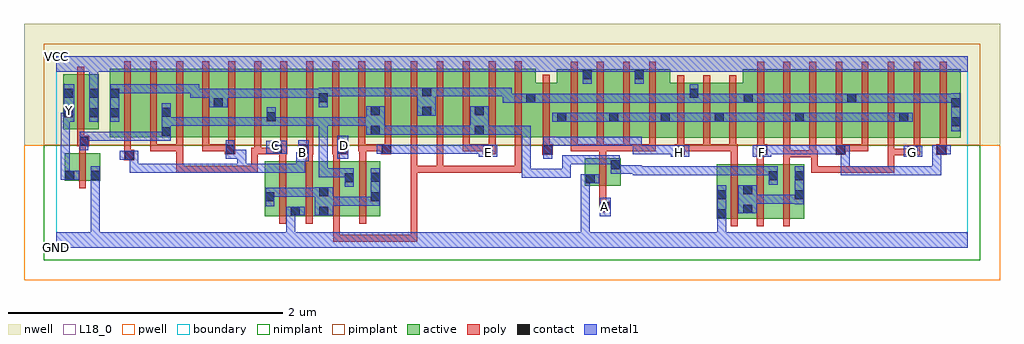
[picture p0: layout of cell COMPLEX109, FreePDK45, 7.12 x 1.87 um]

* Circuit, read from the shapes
.subckt COMPLEX109 A B C D E F G GND H VCC Y
M1 GND n1 Y VSUBS nfet w=0.2u l=0.05u
M2 GND C n2 VSUBS nfet w=0.4u l=0.05u
M3 n2 B GND VSUBS nfet w=0.4u l=0.05u
M4 n1 D n2 VSUBS nfet w=0.4u l=0.05u
M5 n2 E n1 VSUBS nfet w=0.4u l=0.05u
M6 n1 A GND VSUBS nfet w=0.2u l=0.05u
M7 n3 H GND VSUBS nfet w=0.4u l=0.05u
M8 n1 F n3 VSUBS nfet w=0.4u l=0.05u
M9 n3 G n1 VSUBS nfet w=0.4u l=0.05u
M10 VCC n1 Y n4 pfet w=0.4u l=0.05u
M11 n5 B n6 n4 pfet w=0.5u l=0.05u
M12 n1 C n5 n4 pfet w=0.5u l=0.05u
M13 n7 C n1 n4 pfet w=0.5u l=0.05u
M14 n6 B n7 n4 pfet w=0.5u l=0.05u
M15 n8 B n6 n4 pfet w=0.5u l=0.05u
M16 n1 C n8 n4 pfet w=0.5u l=0.05u
M17 n9 C n1 n4 pfet w=0.5u l=0.05u
M18 n6 B n9 n4 pfet w=0.5u l=0.05u
M19 n10 D n6 n4 pfet w=0.5u l=0.05u
M20 n1 E n10 n4 pfet w=0.5u l=0.05u
M21 n11 E n1 n4 pfet w=0.5u l=0.05u
M22 n6 D n11 n4 pfet w=0.5u l=0.05u
M23 n12 D n6 n4 pfet w=0.5u l=0.05u
M24 n1 E n12 n4 pfet w=0.5u l=0.05u
M25 n13 E n1 n4 pfet w=0.5u l=0.05u
M26 n6 D n13 n4 pfet w=0.5u l=0.05u
M27 n14 H n6 n4 pfet w=0.4u l=0.05u m=4
M28 VCC A n14 n4 pfet w=0.5u l=0.05u m=4
M29 n15 F n6 n4 pfet w=0.5u l=0.05u
M30 n14 G n15 n4 pfet w=0.5u l=0.05u
M31 n16 G n14 n4 pfet w=0.5u l=0.05u
M32 n6 F n16 n4 pfet w=0.5u l=0.05u
M33 n17 F n6 n4 pfet w=0.5u l=0.05u
M34 n14 G n17 n4 pfet w=0.5u l=0.05u
M35 n18 G n14 n4 pfet w=0.5u l=0.05u
M36 n6 F n18 n4 pfet w=0.5u l=0.05u
.ends

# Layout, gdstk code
import gdstk
lib = gdstk.Library(unit=1e-6, precision=1e-09)
def R(c, l, rs):  # rectangles x0, y0, x1, y1
    for r in rs: c.add(gdstk.rectangle(r[:2], r[2:], *l))
def A(c, l, x, y, w, h, nx, ny, dx, dy):  # array of equal rectangles
    R(c, l, [(x+i*dx, y+j*dy, x+i*dx+w, y+j*dy+h) for i in range(nx) for j in range(ny)])
active = (1, 0)
pwell = (2, 0)
nwell = (3, 0)
nimplant = (4, 0)
pimplant = (5, 0)
poly = (9, 0)
contact = (10, 0)
metal1 = (11, 0)
L18_0 = (18, 0)
boundary = (235, 0)

complex109 = lib.new_cell('COMPLEX109')
A(complex109, active, 5.235, 0.805, 0.225, 0.5, 4, 1, 0.38, 0)
A(complex109, active, 5.385, 0.805, 0.23, 0.5, 3, 1, 0.38, 0)
A(complex109, active, 1.375, 0.807, 0.23, 0.5, 3, 1, 0.38, 0)
A(complex109, active, 1.53, 0.807, 0.225, 0.5, 3, 1, 0.38, 0)
A(complex109, active, 1.53, 0.807, 0.075, 0.263, 3, 1, 0.76, 0)
R(complex109, active, [(4.817,0.212,4.892,0.612), (4.817,0.212,5.082,0.612), (5.007,0.212,5.267,0.612), (5.192,0.212,5.457,0.612), (5.382,0.212,5.457,0.612), (1.522,0.232,1.782,0.632), (1.522,0.232,1.597,0.492), (1.707,0.232,1.782,0.492), (1.707,0.232,1.99,0.632), (1.915,0.232,2.175,0.632), (1.915,0.232,1.99,0.492), (2.1,0.232,2.365,0.632), (2.29,0.232,2.365,0.632), (5.007,0.247,5.082,0.497), (2.1,0.295,2.175,0.585), (5.192,0.295,5.267,0.565), (3.857,0.455,4.117,0.655), (3.857,0.457,3.932,0.655), (4.042,0.457,4.117,0.655), (0.062,0.492,0.322,0.692), (0.062,0.492,0.137,0.692), (0.247,0.492,0.322,0.692), (3.65,0.805,3.91,1.305), (3.835,0.805,4.105,1.305), (4.03,0.805,4.29,1.305), (4.215,0.805,4.48,1.305), (4.405,0.805,4.69,1.205), (4.615,0.805,4.875,1.205), (4.8,0.805,5.085,1.205), (4.8,0.805,4.875,1.07), (5.01,0.805,5.235,1.305), (6.525,0.805,6.6,1.2), (0.39,0.807,0.615,1.307), (0.39,0.807,0.495,1.2), (0.615,0.807,0.84,1.307), (0.765,0.807,0.995,1.307), (0.765,0.807,0.84,1.07), (0.995,0.807,1.22,1.307), (1.145,0.807,1.375,1.307), (1.145,0.807,1.22,1.2), (1.91,0.807,1.985,1.2), (2.515,0.807,2.74,1.307), (2.665,0.807,2.895,1.307), (2.665,0.807,2.74,1.2), (2.895,0.807,3.125,1.307), (3.05,0.807,3.275,1.307), (3.275,0.807,3.5,1.307), (3.425,0.807,3.725,1.207), (3.65,0.807,3.725,1.07), (3.835,0.807,3.91,1.305), (4.03,0.807,4.105,1.07), (4.215,0.807,4.29,1.305), (5.385,0.807,5.46,1.07), (5.765,0.807,5.84,1.2), (6.145,0.807,6.22,1.07), (0.05,0.867,0.31,1.267), (0.05,0.867,0.125,1.2), (0.235,0.867,0.31,1.267), (3.425,0.907,3.5,1.2), (4.405,0.907,4.48,1.07), (4.615,0.907,4.69,1.2), (5.01,0.907,5.085,1.2)])
R(complex109, pwell, [(-0.235,-0.235,6.885,0.75)])
R(complex109, nwell, [(-0.235,0.75,6.885,1.635)])
R(complex109, nimplant, [(-0.09,-0.09,6.74,0.75)])
R(complex109, pimplant, [(-0.09,0.75,6.74,1.49)])
A(complex109, poly, 4.922, 0.157, 0.05, 0.51, 3, 1, 0.19, 0)
A(complex109, poly, 3.755, 0.705, 0.05, 0.095, 4, 1, 0.19, 0)
A(complex109, poly, 4.53, 0.705, 0.05, 0.095, 3, 1, 0.19, 0)
A(complex109, poly, 0.685, 0.707, 0.05, 0.095, 4, 1, 0.19, 0)
A(complex109, poly, 0.685, 0.707, 0.05, 0.05, 3, 1, 0.19, 0)
A(complex109, poly, 1.635, 0.707, 0.05, 0.095, 5, 1, 0.19, 0)
A(complex109, poly, 3.755, 0.75, 0.05, 0.61, 4, 1, 0.19, 0)
A(complex109, poly, 4.53, 0.75, 0.05, 0.51, 3, 1, 0.19, 0)
A(complex109, poly, 5.115, 0.75, 0.05, 0.61, 8, 1, 0.19, 0)
A(complex109, poly, 0.495, 0.752, 0.05, 0.61, 16, 1, 0.19, 0)
R(complex109, poly, [(2.02,0.045,2.07,0.095), (2.02,0.045,2.07,0.095), (2.02,0.045,2.07,0.095), (2.02,0.045,2.287,0.095), (2.02,0.045,2.07,0.227), (2.237,0.045,2.287,0.095), (2.237,0.045,2.465,0.095), (2.415,0.045,2.465,0.095), (2.415,0.045,2.502,0.095), (2.452,0.045,2.502,0.095), (2.452,0.045,2.502,0.095), (2.452,0.045,2.502,0.095), (2.452,0.045,2.635,0.095), (2.585,0.045,2.635,0.095), (2.585,0.045,2.635,0.095), (2.585,0.045,2.635,0.095), (2.585,0.045,2.635,0.6), (1.627,0.177,1.677,0.687), (1.822,0.177,1.872,0.687), (2.02,0.177,2.07,0.687), (2.21,0.177,2.26,0.687), (3.962,0.262,4.037,0.337), (3.962,0.287,4.012,0.45), (3.962,0.4,4.012,0.71), (0.167,0.437,0.217,0.747), (5.507,0.547,5.557,0.597), (5.507,0.547,5.557,0.597), (5.507,0.547,5.557,0.597), (5.507,0.547,5.69,0.597), (5.507,0.547,5.557,0.712), (5.64,0.547,5.69,0.597), (5.64,0.547,5.69,0.597), (5.64,0.547,5.69,0.597), (5.64,0.547,5.982,0.597), (5.932,0.547,5.982,0.597), (5.932,0.547,5.982,0.597), (5.932,0.547,5.982,0.597), (5.932,0.547,6.115,0.597), (6.065,0.547,6.115,0.597), (6.065,0.547,6.115,0.597), (6.065,0.547,6.115,0.597), (6.065,0.547,6.115,0.725), (0.875,0.55,0.925,0.6), (0.875,0.55,0.925,0.6), (0.875,0.55,0.925,0.6), (0.875,0.55,0.925,0.6), (0.875,0.55,0.925,0.6), (0.875,0.55,1.147,0.6), (0.875,0.55,0.925,0.757), (1.097,0.55,1.147,0.6), (1.097,0.55,1.28,0.6), (1.23,0.55,1.28,0.6), (1.23,0.55,1.28,0.6), (1.23,0.55,1.28,0.6), (1.23,0.55,1.472,0.6), (1.422,0.55,1.472,0.6), (1.422,0.55,1.472,0.6), (1.422,0.55,1.472,0.6), (1.422,0.55,1.472,0.6), (1.422,0.55,1.472,0.6), (1.422,0.55,1.472,0.732), (2.585,0.55,2.635,0.6), (2.585,0.55,2.635,0.6), (2.585,0.55,2.635,0.6), (2.585,0.55,2.635,0.6), (2.585,0.55,2.635,0.6), (2.585,0.55,2.635,0.6), (2.585,0.55,2.635,0.6), (2.585,0.55,2.825,0.6), (2.585,0.55,2.635,0.802), (2.775,0.55,2.825,0.6), (2.775,0.55,2.825,0.6), (2.775,0.55,2.825,0.6), (2.775,0.55,2.825,0.6), (2.775,0.55,2.825,0.6), (2.775,0.55,2.825,0.6), (2.775,0.55,2.825,0.6), (2.775,0.55,2.825,0.802), (2.775,0.55,3.03,0.6), (2.98,0.55,3.03,0.6), (2.98,0.55,3.03,0.6), (2.98,0.55,3.03,0.6), (2.98,0.55,3.162,0.6), (3.112,0.55,3.162,0.6), (3.112,0.55,3.162,0.6), (3.112,0.55,3.162,0.6), (3.112,0.55,3.395,0.6), (3.345,0.55,3.395,0.6), (3.345,0.55,3.395,0.6), (3.345,0.55,3.395,0.6), (3.345,0.55,3.395,0.6), (3.345,0.55,3.395,0.6), (3.345,0.55,3.395,0.6), (3.345,0.55,3.395,0.6), (3.345,0.55,3.395,0.802), (4.922,0.617,4.972,0.755), (5.112,0.617,5.162,0.73), (5.302,0.617,5.352,0.712), (1.627,0.637,1.677,0.732), (1.822,0.637,1.872,0.732), (2.02,0.637,2.07,0.732), (2.21,0.637,2.26,0.757), (0.495,0.64,0.57,0.715), (3.962,0.66,4.012,0.755), (5.302,0.662,5.355,0.712), (5.305,0.662,5.355,0.712), (5.305,0.662,5.355,0.712), (5.305,0.662,5.355,0.8), (5.305,0.662,5.545,0.712), (5.495,0.662,5.545,0.8), (5.495,0.662,5.557,0.712), (5.507,0.662,5.557,0.712), (5.507,0.662,5.557,0.712), (0.495,0.665,0.545,0.802), (6.065,0.675,6.115,0.725), (6.065,0.675,6.262,0.725), (6.065,0.675,6.115,0.8), (6.212,0.675,6.262,0.725), (6.212,0.675,6.262,0.725), (6.212,0.675,6.305,0.75), (3.547,0.68,3.622,0.755), (4.512,0.68,4.587,0.755), (5.112,0.68,5.187,0.755), (5.685,0.68,5.76,0.755), (6.42,0.68,6.495,0.755), (1.23,0.682,1.305,0.757), (1.422,0.682,1.495,0.732), (1.445,0.682,1.627,0.732), (1.445,0.682,1.495,0.802), (1.577,0.682,1.627,0.732), (1.577,0.682,1.627,0.732), (1.577,0.682,1.685,0.757), (1.772,0.682,1.875,0.757), (2.015,0.682,2.122,0.757), (2.37,0.682,2.445,0.757), (3.112,0.682,3.205,0.757), (0.167,0.697,0.217,0.792), (6.255,0.7,6.305,0.8), (3.55,0.705,3.6,0.802), (3.755,0.705,3.805,0.755), (3.755,0.705,3.805,0.755), (3.755,0.705,3.805,0.755), (3.755,0.705,3.995,0.755), (3.945,0.705,4.012,0.755), (3.962,0.705,4.185,0.755), (4.135,0.705,4.185,0.755), (4.135,0.705,4.185,0.755), (4.135,0.705,4.185,0.755), (4.135,0.705,4.375,0.755), (4.325,0.705,4.375,0.755), (4.325,0.705,4.375,0.755), (4.325,0.705,4.375,0.755), (4.537,0.705,4.587,0.755), (4.537,0.705,4.587,0.755), (4.537,0.705,4.77,0.755), (4.72,0.705,4.77,0.755), (4.72,0.705,4.96,0.755), (4.91,0.705,4.96,0.755), (4.91,0.705,4.96,0.755), (4.91,0.705,4.972,0.755), (5.115,0.705,5.165,0.8), (5.685,0.705,5.735,0.8), (5.71,0.705,5.76,0.755), (5.71,0.705,5.76,0.755), (5.71,0.705,5.925,0.755), (5.875,0.705,5.925,0.8), (5.875,0.705,5.925,0.755), (6.445,0.705,6.495,0.8), (0.685,0.707,0.735,0.757), (0.685,0.707,0.735,0.757), (0.685,0.707,0.925,0.757), (1.065,0.707,1.28,0.757), (1.23,0.707,1.28,0.757), (1.23,0.707,1.28,0.757), (2.205,0.707,2.26,0.757), (2.21,0.707,2.42,0.757), (2.37,0.707,2.42,0.757), (2.37,0.707,2.42,0.757), (2.965,0.707,3.015,0.802), (2.965,0.707,3.015,0.757), (2.965,0.707,3.162,0.757), (3.112,0.707,3.162,0.757), (3.112,0.707,3.162,0.757), (3.155,0.707,3.205,0.802), (0.155,0.742,0.24,0.817), (3.55,0.752,3.6,1.262), (0.155,0.767,0.205,0.862), (0.155,0.812,0.205,1.322)])
R(complex109, contact, [(4.822,0.217,4.887,0.282), (1.712,0.237,1.777,0.302), (1.92,0.237,1.985,0.302), (5.012,0.252,5.077,0.317), (3.967,0.267,4.032,0.332), (1.527,0.34,1.592,0.405), (2.295,0.342,2.36,0.407), (5.387,0.355,5.452,0.42), (4.822,0.357,4.887,0.422), (1.92,0.377,1.985,0.442), (5.012,0.392,5.077,0.457), (3.862,0.472,3.927,0.537), (2.105,0.48,2.17,0.545), (2.295,0.482,2.36,0.547), (5.197,0.495,5.262,0.56), (5.387,0.495,5.452,0.56), (0.067,0.497,0.132,0.562), (0.252,0.497,0.317,0.562), (4.047,0.575,4.112,0.64), (0.5,0.645,0.565,0.71), (6.217,0.68,6.282,0.745), (3.552,0.685,3.617,0.75), (4.517,0.685,4.582,0.75), (5.117,0.685,5.182,0.75), (5.69,0.685,5.755,0.75), (6.425,0.685,6.49,0.75), (1.235,0.687,1.3,0.752), (1.582,0.687,1.647,0.752), (1.777,0.687,1.842,0.752), (2.052,0.687,2.117,0.752), (2.375,0.687,2.44,0.752), (3.117,0.687,3.182,0.752), (0.17,0.747,0.235,0.812), (0.77,0.817,0.835,0.882), (2.295,0.827,2.36,0.892), (3.055,0.827,3.12,0.892), (6.53,0.887,6.595,0.952), (3.655,0.922,3.72,0.987), (4.035,0.922,4.1,0.987), (4.41,0.922,4.475,0.987), (4.805,0.922,4.87,0.987), (5.39,0.922,5.455,0.987), (6.15,0.922,6.215,0.987), (1.535,0.925,1.6,0.99), (0.055,0.955,0.12,1.02), (0.24,0.955,0.305,1.02), (0.395,0.955,0.46,1.02), (0.77,0.957,0.835,1.022), (2.67,0.965,2.735,1.03), (2.295,0.967,2.36,1.032), (3.055,0.967,3.12,1.032), (1.15,1.027,1.215,1.092), (6.53,1.027,6.595,1.092), (3.43,1.06,3.495,1.125), (5.015,1.06,5.08,1.125), (5.77,1.06,5.835,1.125), (1.915,1.062,1.98,1.127), (0.055,1.095,0.12,1.16), (0.24,1.095,0.305,1.16), (0.395,1.095,0.46,1.16), (4.62,1.095,4.685,1.16), (2.67,1.105,2.735,1.17), (3.84,1.232,3.905,1.297), (4.22,1.232,4.285,1.297)])
R(complex109, metal1, [(0,0,6.65,0.115), (0.252,0.05,0.317,0.115), (0.252,0.05,0.317,0.115), (0.252,0.05,0.317,0.527), (1.677,0.05,1.742,0.115), (1.677,0.05,1.742,0.115), (1.677,0.05,1.742,0.302), (3.827,0.05,3.892,0.115), (3.827,0.05,3.892,0.115), (3.827,0.05,3.892,0.44), (4.822,0.05,4.887,0.115), (4.822,0.05,4.887,0.115), (4.822,0.05,4.887,0.247), (4.822,0.182,4.887,0.457), (3.965,0.232,4.045,0.367), (1.677,0.237,1.812,0.302), (1.885,0.237,2.02,0.442), (4.977,0.252,5.112,0.457), (1.527,0.305,1.592,0.44), (1.955,0.307,2.02,0.372), (1.955,0.307,2.02,0.372), (1.955,0.307,2.157,0.372), (2.092,0.307,2.157,0.372), (2.092,0.307,2.157,0.372), (2.092,0.307,2.157,0.372), (2.092,0.307,2.36,0.372), (2.295,0.307,2.36,0.582), (5.387,0.32,5.452,0.595), (5.047,0.322,5.112,0.387), (5.047,0.322,5.112,0.387), (5.047,0.322,5.252,0.387), (5.187,0.322,5.252,0.387), (5.187,0.322,5.445,0.387), (5.38,0.322,5.445,0.387), (5.38,0.322,5.452,0.387), (1.527,0.375,1.592,0.44), (1.527,0.375,1.592,0.44), (1.527,0.375,1.742,0.44), (1.677,0.375,1.742,0.44), (1.677,0.375,1.827,0.44), (1.762,0.375,1.827,0.44), (1.762,0.375,1.95,0.44), (3.827,0.375,3.892,0.44), (3.827,0.375,3.892,0.44), (3.827,0.375,3.892,0.537), (2.105,0.445,2.17,0.58), (5.197,0.46,5.262,0.595), (0.252,0.462,0.317,0.527), (0.252,0.462,0.317,0.527), (0.252,0.462,0.317,0.527), (0.252,0.462,0.317,0.527), (0.252,0.462,0.317,0.597), (3.827,0.472,3.892,0.537), (3.827,0.472,3.962,0.537), (0.032,0.497,0.167,0.562), (0.032,0.497,0.097,0.985), (3.395,0.512,3.46,0.577), (3.395,0.512,3.617,0.577), (3.395,0.512,3.46,0.892), (3.552,0.512,3.617,0.577), (3.552,0.512,3.617,0.577), (3.552,0.512,3.617,0.577), (3.552,0.512,3.755,0.577), (3.69,0.512,3.755,0.675), (1.915,0.515,1.98,0.58), (1.915,0.515,1.98,0.58), (1.915,0.515,1.98,0.58), (1.915,0.515,1.98,0.58), (1.915,0.515,1.98,0.58), (1.915,0.515,2.17,0.58), (1.915,0.515,1.98,0.955), (4.207,0.53,4.272,0.595), (4.207,0.53,4.272,0.595), (4.207,0.53,4.41,0.595), (4.207,0.53,4.272,0.605), (4.345,0.53,4.41,0.595), (4.345,0.53,4.41,0.595), (4.345,0.53,4.41,0.595), (4.345,0.53,4.685,0.595), (4.62,0.53,4.685,0.595), (4.62,0.53,4.685,0.595), (4.62,0.53,4.685,0.595), (4.62,0.53,4.822,0.595), (4.757,0.53,4.822,0.595), (4.757,0.53,4.822,0.595), (4.757,0.53,4.822,0.595), (4.757,0.53,4.96,0.595), (4.895,0.53,4.96,0.595), (4.895,0.53,5.112,0.595), (5.047,0.53,5.112,0.595), (5.047,0.53,5.112,0.595), (5.047,0.53,5.112,0.595), (5.047,0.53,5.262,0.595), (5.725,0.53,5.79,0.595), (5.725,0.53,5.79,0.75), (5.725,0.53,5.937,0.595), (5.872,0.53,5.937,0.595), (5.872,0.53,6.007,0.595), (5.942,0.53,6.007,0.595), (5.942,0.53,6.075,0.595), (6.01,0.53,6.075,0.595), (6.01,0.53,6.212,0.595), (6.147,0.53,6.212,0.595), (6.147,0.53,6.212,0.595), (6.147,0.53,6.212,0.595), (6.147,0.53,6.455,0.595), (6.39,0.53,6.455,0.595), (6.39,0.53,6.455,0.75), (4.047,0.54,4.112,0.675), (4.047,0.54,4.272,0.605), (0.535,0.55,0.6,0.615), (0.535,0.55,0.767,0.615), (0.535,0.55,0.6,0.71), (0.702,0.55,0.767,0.615), (0.702,0.55,0.767,0.615), (0.702,0.55,0.767,0.615), (0.702,0.55,0.905,0.615), (0.84,0.55,0.905,0.615), (0.84,0.55,1.042,0.615), (0.977,0.55,1.042,0.615), (0.977,0.55,1.042,0.615), (0.977,0.55,1.042,0.615), (0.977,0.55,1.25,0.615), (1.185,0.55,1.25,0.615), (1.185,0.55,1.25,0.615), (1.185,0.55,1.25,0.615), (1.185,0.55,1.387,0.615), (1.322,0.55,1.387,0.615), (1.322,0.55,1.437,0.615), (1.322,0.55,1.387,0.717), (1.372,0.55,1.437,0.615), (1.372,0.55,1.575,0.615), (1.51,0.55,1.575,0.615), (1.51,0.55,1.575,0.615), (1.51,0.55,1.575,0.615), (1.51,0.55,1.817,0.615), (1.752,0.55,1.817,0.615), (1.752,0.55,1.817,0.697), (3.69,0.61,3.892,0.675), (3.827,0.61,3.892,0.675), (3.827,0.61,4.03,0.675), (3.965,0.61,4.03,0.675), (3.965,0.61,4.112,0.675), (1.752,0.632,1.817,0.697), (1.752,0.632,1.832,0.697), (1.767,0.632,1.842,0.787), (0.465,0.645,0.6,0.71), (0.535,0.645,0.6,0.71), (0.535,0.645,0.6,0.71), (3.552,0.65,3.617,0.812), (1.235,0.652,1.3,0.787), (1.235,0.652,1.387,0.717), (1.322,0.652,1.387,0.717), (2.052,0.652,2.132,0.817), (3.082,0.667,3.217,0.752), (4.482,0.667,4.617,0.75), (5.082,0.667,5.217,0.75), (6.182,0.667,6.317,0.745), (4.207,0.685,4.41,0.75), (4.207,0.685,4.272,0.812), (4.345,0.685,4.41,0.75), (4.345,0.685,4.547,0.75), (4.482,0.685,4.547,0.75), (4.482,0.685,4.547,0.75), (5.152,0.685,5.252,0.75), (5.187,0.685,5.252,0.75), (5.187,0.685,5.39,0.75), (5.325,0.685,5.39,0.75), (5.325,0.685,5.39,0.75), (5.325,0.685,5.39,0.75), (5.325,0.685,5.582,0.75), (5.517,0.685,5.582,0.75), (5.517,0.685,5.627,0.75), (5.562,0.685,5.627,0.75), (5.562,0.685,5.72,0.75), (5.655,0.685,5.79,0.75), (5.725,0.685,5.79,0.75), (5.725,0.685,5.79,0.75), (6.39,0.685,6.455,0.75), (6.39,0.685,6.455,0.75), (6.39,0.685,6.525,0.75), (1.532,0.687,1.682,0.782), (2.34,0.687,2.475,0.752), (2.41,0.687,2.562,0.752), (2.497,0.687,2.562,0.752), (2.497,0.687,2.612,0.752), (2.547,0.687,2.612,0.752), (2.547,0.687,2.77,0.752), (2.705,0.687,2.77,0.752), (2.705,0.687,2.77,0.752), (2.705,0.687,2.77,0.752), (2.705,0.687,2.907,0.752), (2.842,0.687,2.907,0.752), (2.842,0.687,3.01,0.752), (2.945,0.687,3.01,0.752), (2.945,0.687,3.147,0.752), (3.082,0.687,3.147,0.752), (3.082,0.687,3.147,0.752), (0.17,0.712,0.235,0.847), (3.552,0.747,3.755,0.812), (3.69,0.747,3.755,0.812), (3.69,0.747,3.892,0.812), (3.827,0.747,3.892,0.812), (3.827,0.747,3.892,0.812), (3.827,0.747,3.892,0.812), (3.827,0.747,4.072,0.812), (4.007,0.747,4.072,0.812), (4.007,0.747,4.072,0.812), (4.007,0.747,4.072,0.812), (4.007,0.747,4.21,0.812), (4.145,0.747,4.21,0.812), (4.145,0.747,4.272,0.812), (0.17,0.782,0.372,0.847), (0.307,0.782,0.372,0.847), (0.307,0.782,0.372,0.847), (0.307,0.782,0.372,0.847), (0.307,0.782,0.372,0.847), (0.307,0.782,0.372,0.847), (0.307,0.782,0.595,0.847), (0.53,0.782,0.595,0.847), (0.53,0.782,0.597,0.847), (0.532,0.782,0.597,0.847), (0.532,0.782,0.767,0.847), (0.702,0.782,0.767,0.847), (0.702,0.782,0.835,0.847), (0.77,0.782,0.835,1.057), (2.26,0.827,2.395,1.032), (2.33,0.827,2.395,0.892), (2.33,0.827,2.395,0.892), (2.33,0.827,2.562,0.892), (2.497,0.827,2.562,0.892), (2.497,0.827,2.632,0.892), (2.567,0.827,2.632,0.892), (2.567,0.827,2.77,0.892), (2.705,0.827,2.77,0.892), (2.705,0.827,2.77,0.892), (2.705,0.827,2.77,0.892), (2.705,0.827,2.907,0.892), (2.842,0.827,2.907,0.892), (2.842,0.827,3.01,0.892), (2.945,0.827,3.01,0.892), (2.945,0.827,3.085,0.892), (3.02,0.827,3.155,1.032), (3.09,0.827,3.155,0.892), (3.09,0.827,3.155,0.892), (3.09,0.827,3.322,0.892), (3.257,0.827,3.322,0.892), (3.257,0.827,3.322,0.892), (3.257,0.827,3.322,0.892), (3.257,0.827,3.46,0.892), (3.395,0.827,3.46,0.892), (3.395,0.827,3.46,0.892), (3.395,0.827,3.46,0.892), (6.53,0.852,6.595,1.127), (0.77,0.89,0.905,0.955), (0.84,0.89,0.905,0.955), (0.84,0.89,1.042,0.955), (0.977,0.89,1.042,0.955), (0.977,0.89,1.042,0.955), (0.977,0.89,1.042,0.955), (0.977,0.89,1.18,0.955), (1.115,0.89,1.18,0.955), (1.115,0.89,1.18,0.955), (1.115,0.89,1.18,0.955), (1.115,0.89,1.437,0.955), (1.372,0.89,1.437,0.955), (1.372,0.89,1.437,0.955), (1.372,0.89,1.437,0.955), (1.372,0.89,1.6,0.955), (1.535,0.89,1.6,0.955), (1.535,0.89,1.6,0.955), (1.535,0.89,1.792,0.955), (1.535,0.89,1.6,1.025), (1.727,0.89,1.792,0.955), (1.727,0.89,1.827,0.955), (1.762,0.89,1.827,0.955), (1.762,0.89,1.98,0.955), (1.915,0.89,1.98,0.955), (1.915,0.89,1.98,0.955), (1.915,0.89,1.98,0.955), (1.915,0.89,2.165,0.955), (2.1,0.89,2.165,0.955), (2.1,0.89,2.165,0.955), (2.1,0.89,2.165,0.955), (2.1,0.89,2.325,0.955), (0.032,0.92,0.097,0.985), (0.032,0.92,0.097,0.985), (0.032,0.92,0.12,0.985), (0.055,0.92,0.12,0.985), (0.055,0.92,0.132,1.195), (0.24,0.92,0.305,1.195), (0.395,0.92,0.46,1.195), (3.62,0.922,3.755,0.987), (3.69,0.922,3.892,0.987), (3.827,0.922,3.892,0.987), (3.827,0.922,3.892,0.987), (3.827,0.922,3.892,0.987), (3.827,0.922,4.065,0.987), (4,0.922,4.065,0.987), (4,0.922,4.065,0.987), (4,0.922,4.135,0.987), (4.07,0.922,4.272,0.987), (4.207,0.922,4.272,0.987), (4.207,0.922,4.272,0.987), (4.207,0.922,4.272,0.987), (4.207,0.922,4.41,0.987), (4.345,0.922,4.41,0.987), (4.345,0.922,4.44,0.987), (4.375,0.922,4.51,0.987), (4.445,0.922,4.685,0.987), (4.62,0.922,4.685,0.987), (4.62,0.922,4.685,0.987), (4.62,0.922,4.685,0.987), (4.62,0.922,4.822,0.987), (4.757,0.922,4.822,0.987), (4.757,0.922,4.835,0.987), (4.77,0.922,4.905,0.987), (4.84,0.922,4.96,0.987), (4.895,0.922,4.96,0.987), (4.895,0.922,5.115,0.987), (5.05,0.922,5.115,0.987), (5.05,0.922,5.115,0.987), (5.05,0.922,5.115,0.987), (5.05,0.922,5.252,0.987), (5.187,0.922,5.252,0.987), (5.187,0.922,5.42,0.987), (5.355,0.922,5.42,0.987), (5.355,0.922,5.42,0.987), (5.355,0.922,5.49,0.987), (5.425,0.922,5.582,0.987), (5.517,0.922,5.582,0.987), (5.517,0.922,5.627,0.987), (5.562,0.922,5.627,0.987), (5.562,0.922,5.765,0.987), (5.7,0.922,5.765,0.987), (5.7,0.922,5.765,0.987), (5.7,0.922,5.765,0.987), (5.7,0.922,5.937,0.987), (5.872,0.922,5.937,0.987), (5.872,0.922,6.007,0.987), (5.942,0.922,6.007,0.987), (5.942,0.922,6.075,0.987), (6.01,0.922,6.075,0.987), (6.01,0.922,6.18,0.987), (6.115,0.922,6.25,0.987), (2.635,0.965,2.77,1.17), (1.115,1.027,1.25,1.162), (1.915,1.027,1.98,1.162), (3.257,1.06,3.46,1.125), (3.257,1.06,3.322,1.17), (3.395,1.06,3.46,1.125), (3.395,1.06,3.46,1.125), (3.395,1.06,3.53,1.125), (3.415,1.06,3.48,1.125), (3.415,1.06,3.48,1.125), (3.415,1.06,3.617,1.125), (3.552,1.06,3.617,1.125), (3.552,1.06,3.667,1.125), (3.602,1.06,3.667,1.125), (3.602,1.06,3.892,1.125), (3.827,1.06,3.892,1.125), (3.827,1.06,3.892,1.125), (3.827,1.06,3.892,1.125), (3.827,1.06,4.072,1.125), (4.007,1.06,4.072,1.125), (4.007,1.06,4.072,1.125), (4.007,1.06,4.072,1.125), (4.007,1.06,4.272,1.125), (4.207,1.06,4.272,1.125), (4.207,1.06,4.272,1.125), (4.207,1.06,4.272,1.125), (4.207,1.06,4.41,1.125), (4.345,1.06,4.41,1.125), (4.345,1.06,4.41,1.125), (4.345,1.06,4.41,1.125), (4.345,1.06,4.685,1.125), (4.62,1.06,4.685,1.125), (4.62,1.06,4.685,1.125), (4.62,1.06,4.822,1.125), (4.62,1.06,4.685,1.195), (4.757,1.06,4.822,1.125), (4.757,1.06,4.822,1.125), (4.757,1.06,4.822,1.125), (4.757,1.06,4.96,1.125), (4.895,1.06,4.96,1.125), (4.895,1.06,5.045,1.125), (4.98,1.06,5.115,1.125), (5.05,1.06,5.252,1.125), (5.187,1.06,5.252,1.125), (5.187,1.06,5.252,1.125), (5.187,1.06,5.252,1.125), (5.187,1.06,5.39,1.125), (5.325,1.06,5.39,1.125), (5.325,1.06,5.39,1.125), (5.325,1.06,5.39,1.125), (5.325,1.06,5.582,1.125), (5.517,1.06,5.582,1.125), (5.517,1.06,5.627,1.125), (5.562,1.06,5.627,1.125), (5.562,1.06,5.8,1.125), (5.735,1.06,5.8,1.125), (5.735,1.06,5.8,1.125), (5.735,1.06,5.87,1.125), (5.805,1.06,5.937,1.125), (5.872,1.06,5.937,1.125), (5.872,1.06,6.007,1.125), (5.942,1.06,6.007,1.125), (5.942,1.06,6.075,1.125), (6.01,1.06,6.075,1.125), (6.01,1.06,6.317,1.125), (6.252,1.06,6.317,1.125), (6.252,1.06,6.317,1.125), (6.252,1.06,6.317,1.125), (6.252,1.06,6.455,1.125), (6.39,1.06,6.455,1.125), (6.39,1.06,6.595,1.125), (6.53,1.06,6.595,1.125), (6.53,1.06,6.595,1.125), (0.977,1.097,1.18,1.162), (0.977,1.097,1.042,1.195), (1.185,1.097,1.25,1.162), (1.185,1.097,1.25,1.162), (1.185,1.097,1.437,1.162), (1.372,1.097,1.437,1.162), (1.372,1.097,1.437,1.162), (1.372,1.097,1.437,1.162), (1.372,1.097,1.575,1.162), (1.51,1.097,1.575,1.162), (1.51,1.097,1.575,1.162), (1.51,1.097,1.575,1.162), (1.51,1.097,1.742,1.162), (1.677,1.097,1.742,1.162), (1.677,1.097,1.827,1.162), (1.762,1.097,1.827,1.162), (1.762,1.097,1.98,1.162), (1.915,1.097,1.98,1.162), (1.915,1.097,1.98,1.17), (1.915,1.105,2.187,1.17), (2.122,1.105,2.187,1.17), (2.122,1.105,2.187,1.17), (2.122,1.105,2.187,1.17), (2.122,1.105,2.425,1.17), (2.36,1.105,2.425,1.17), (2.36,1.105,2.425,1.17), (2.36,1.105,2.425,1.17), (2.36,1.105,2.562,1.17), (2.497,1.105,2.562,1.17), (2.497,1.105,2.632,1.17), (2.567,1.105,2.632,1.17), (2.567,1.105,2.7,1.17), (2.705,1.105,2.77,1.17), (2.705,1.105,2.77,1.17), (2.705,1.105,2.907,1.17), (2.842,1.105,2.907,1.17), (2.842,1.105,2.907,1.17), (2.842,1.105,2.907,1.17), (2.842,1.105,3.185,1.17), (3.12,1.105,3.185,1.17), (3.12,1.105,3.185,1.17), (3.12,1.105,3.185,1.17), (3.12,1.105,3.322,1.17), (0.24,1.13,0.305,1.35), (0.395,1.13,0.597,1.195), (0.532,1.13,0.597,1.195), (0.532,1.13,0.597,1.195), (0.532,1.13,0.597,1.195), (0.532,1.13,0.767,1.195), (0.702,1.13,0.767,1.195), (0.702,1.13,0.767,1.195), (0.702,1.13,0.767,1.195), (0.702,1.13,0.905,1.195), (0.84,1.13,0.905,1.195), (0.84,1.13,1.042,1.195), (0.977,1.13,1.042,1.195), (0.977,1.13,1.042,1.195), (3.84,1.197,3.905,1.332), (4.22,1.197,4.285,1.332), (3.84,1.267,3.905,1.35), (4.22,1.267,4.285,1.35), (0,1.285,6.65,1.4)])
R(complex109, L18_0, [(0,0,6.65,0.115), (0.252,0.05,0.317,0.115), (0.252,0.05,0.317,0.115), (0.252,0.05,0.317,0.527), (1.677,0.05,1.742,0.115), (1.677,0.05,1.742,0.115), (1.677,0.05,1.742,0.302), (3.827,0.05,3.892,0.115), (3.827,0.05,3.892,0.115), (3.827,0.05,3.892,0.44), (4.822,0.05,4.887,0.115), (4.822,0.05,4.887,0.115), (4.822,0.05,4.887,0.247), (4.822,0.182,4.887,0.457), (3.965,0.232,4.045,0.367), (1.677,0.237,1.812,0.302), (3.967,0.267,4.032,0.332), (3.827,0.375,3.892,0.44), (3.827,0.375,3.892,0.44), (3.827,0.375,3.892,0.537), (0.252,0.462,0.317,0.527), (0.252,0.462,0.317,0.527), (0.252,0.462,0.317,0.527), (0.252,0.462,0.317,0.527), (0.252,0.462,0.317,0.597), (3.827,0.472,3.962,0.537), (3.827,0.472,3.892,0.537), (0.032,0.497,0.167,0.562), (0.032,0.497,0.097,0.985), (5.725,0.53,5.79,0.595), (5.725,0.53,5.79,0.75), (5.725,0.53,5.937,0.595), (5.872,0.53,6.007,0.595), (5.872,0.53,5.937,0.595), (5.942,0.53,6.007,0.595), (5.942,0.53,6.075,0.595), (6.01,0.53,6.075,0.595), (6.01,0.53,6.212,0.595), (6.147,0.53,6.212,0.595), (6.147,0.53,6.212,0.595), (6.147,0.53,6.212,0.595), (6.147,0.53,6.455,0.595), (6.39,0.53,6.455,0.595), (6.39,0.53,6.455,0.75), (0.535,0.55,0.6,0.615), (0.535,0.55,0.6,0.71), (0.535,0.55,0.767,0.615), (0.702,0.55,0.767,0.615), (0.702,0.55,0.767,0.615), (0.702,0.55,0.767,0.615), (0.702,0.55,0.905,0.615), (0.84,0.55,0.905,0.615), (0.84,0.55,1.042,0.615), (0.977,0.55,1.042,0.615), (0.977,0.55,1.042,0.615), (0.977,0.55,1.042,0.615), (0.977,0.55,1.25,0.615), (1.185,0.55,1.25,0.615), (1.185,0.55,1.25,0.615), (1.185,0.55,1.25,0.615), (1.185,0.55,1.387,0.615), (1.322,0.55,1.387,0.615), (1.322,0.55,1.387,0.717), (1.322,0.55,1.437,0.615), (1.372,0.55,1.437,0.615), (1.372,0.55,1.575,0.615), (1.51,0.55,1.575,0.615), (1.51,0.55,1.575,0.615), (1.51,0.55,1.575,0.615), (1.51,0.55,1.817,0.615), (1.752,0.55,1.817,0.615), (1.752,0.55,1.817,0.697), (1.752,0.632,1.817,0.697), (1.752,0.632,1.832,0.697), (1.767,0.632,1.842,0.787), (0.465,0.645,0.6,0.71), (0.535,0.645,0.6,0.71), (0.535,0.645,0.6,0.71), (3.552,0.65,3.617,0.812), (1.235,0.652,1.3,0.787), (1.235,0.652,1.387,0.717), (1.322,0.652,1.387,0.717), (2.052,0.652,2.132,0.817), (1.767,0.667,1.832,0.732), (3.082,0.667,3.217,0.752), (3.117,0.667,3.182,0.732), (4.482,0.667,4.617,0.75), (4.517,0.667,4.582,0.732), (5.082,0.667,5.217,0.75), (5.117,0.667,5.182,0.732), (6.182,0.667,6.317,0.745), (6.217,0.667,6.282,0.732), (4.207,0.685,4.41,0.75), (4.207,0.685,4.272,0.812), (4.345,0.685,4.41,0.75), (4.345,0.685,4.547,0.75), (4.482,0.685,4.547,0.75), (4.482,0.685,4.547,0.75), (5.152,0.685,5.252,0.75), (5.187,0.685,5.252,0.75), (5.187,0.685,5.39,0.75), (5.325,0.685,5.39,0.75), (5.325,0.685,5.39,0.75), (5.325,0.685,5.39,0.75), (5.325,0.685,5.582,0.75), (5.517,0.685,5.582,0.75), (5.517,0.685,5.627,0.75), (5.562,0.685,5.627,0.75), (5.562,0.685,5.72,0.75), (5.655,0.685,5.79,0.75), (5.725,0.685,5.79,0.75), (5.725,0.685,5.79,0.75), (6.39,0.685,6.525,0.75), (6.39,0.685,6.455,0.75), (6.39,0.685,6.455,0.75), (1.532,0.687,1.682,0.782), (2.34,0.687,2.475,0.752), (2.41,0.687,2.562,0.752), (2.497,0.687,2.562,0.752), (2.497,0.687,2.612,0.752), (2.547,0.687,2.612,0.752), (2.547,0.687,2.77,0.752), (2.705,0.687,2.77,0.752), (2.705,0.687,2.77,0.752), (2.705,0.687,2.77,0.752), (2.705,0.687,2.907,0.752), (2.842,0.687,2.907,0.752), (2.842,0.687,3.01,0.752), (2.945,0.687,3.01,0.752), (2.945,0.687,3.147,0.752), (3.082,0.687,3.147,0.752), (3.082,0.687,3.147,0.752), (1.567,0.717,1.632,0.782), (2.067,0.717,2.132,0.782), (3.552,0.747,3.755,0.812), (3.69,0.747,3.755,0.812), (3.69,0.747,3.892,0.812), (3.827,0.747,3.892,0.812), (3.827,0.747,3.892,0.812), (3.827,0.747,3.892,0.812), (3.827,0.747,4.072,0.812), (4.007,0.747,4.072,0.812), (4.007,0.747,4.072,0.812), (4.007,0.747,4.072,0.812), (4.007,0.747,4.21,0.812), (4.145,0.747,4.21,0.812), (4.145,0.747,4.272,0.812), (0.032,0.92,0.097,0.985), (0.032,0.92,0.097,0.985), (0.032,0.92,0.12,0.985), (0.055,0.92,0.12,0.985), (0.055,0.92,0.132,1.195), (0.24,0.92,0.305,1.195), (0.067,0.967,0.132,1.032), (0.24,1.13,0.305,1.35), (3.84,1.197,3.905,1.332), (4.22,1.197,4.285,1.332), (3.84,1.267,3.905,1.35), (4.22,1.267,4.285,1.35), (0,1.285,6.65,1.4)])
R(complex109, boundary, [(0,0,6.65,1.4)])
complex109.add(gdstk.Label('A', (4,0.3), layer=11, texttype=0))
complex109.add(gdstk.Label('B', (1.8,0.7), layer=11, texttype=0))
complex109.add(gdstk.Label('C', (1.6,0.75), layer=11, texttype=0))
complex109.add(gdstk.Label('D', (2.1,0.75), layer=11, texttype=0))
complex109.add(gdstk.Label('E', (3.15,0.7), layer=11, texttype=0))
complex109.add(gdstk.Label('F', (5.15,0.7), layer=11, texttype=0))
complex109.add(gdstk.Label('G', (6.25,0.7), layer=11, texttype=0))
complex109.add(gdstk.Label('H', (4.55,0.7), layer=11, texttype=0))
complex109.add(gdstk.Label('Y', (0.1,1), layer=11, texttype=0))
complex109.add(gdstk.Label('VCC', (0,1.4), layer=11, texttype=0))
complex109.add(gdstk.Label('GND', (0,0), layer=11, texttype=0))

lib.write_gds('COMPLEX109.gds')
